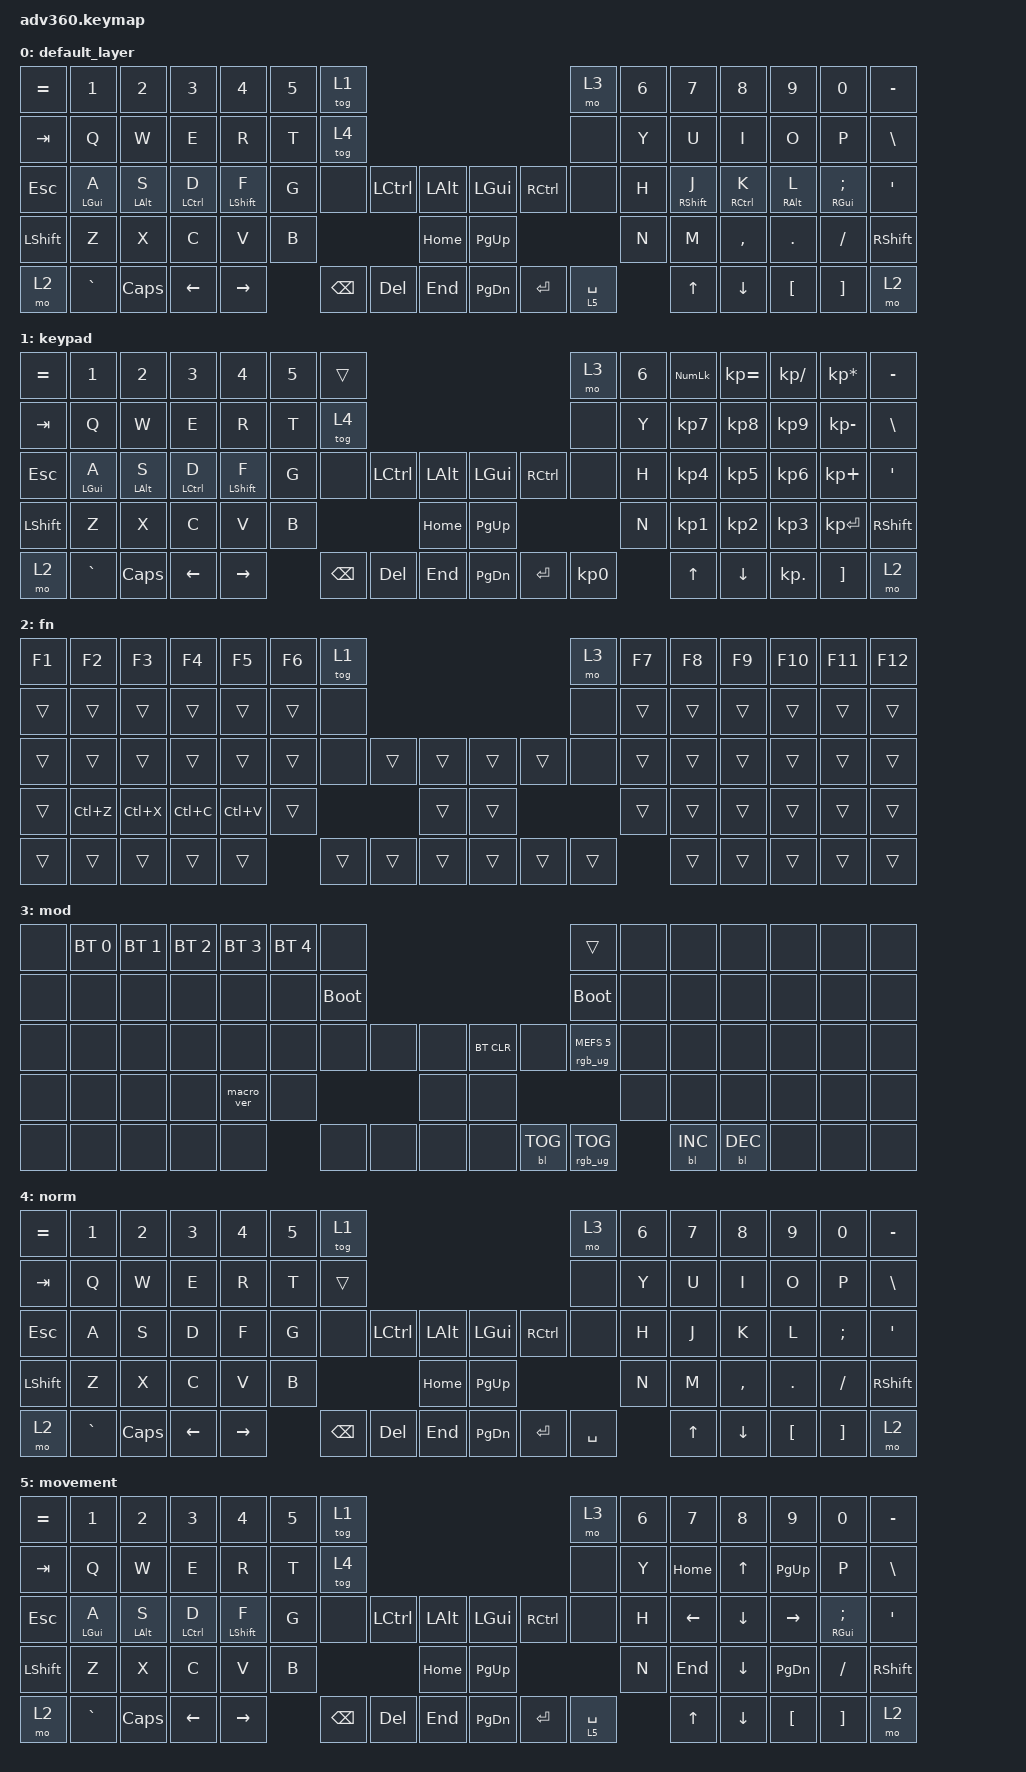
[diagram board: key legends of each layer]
#include <behaviors.dtsi>
#include <dt-bindings/zmk/backlight.h>
#include <dt-bindings/zmk/bt.h>
#include <dt-bindings/zmk/keys.h>
#include <dt-bindings/zmk/rgb.h>

/ {
    behaviors {
        #include "macros.dtsi"
      #include "version.dtsi"
      #ifndef VERSION_MACRO

        macro_ver: macro_ver {
            compatible = "zmk,behavior-macro";
            label = "macro_version";
            #binding-cells = <0>;
            bindings = <&kp RET>;
        };

        #endif

        hm: homerow_mods {
            compatible = "zmk,behavior-hold-tap";
            label = "HOMEROW_MODS";
            #binding-cells = <2>;
            tapping-term-ms = <200>;
            quick_tap_ms = <175>;
            flavor = "tap-preferred";
            bindings = <&kp>, <&kp>;
        };
    };

    macros {
    };

    keymap {
        compatible = "zmk,keymap";

        default_layer {
            bindings = <
&kp EQUAL  &kp N1          &kp N2          &kp N3              &kp N4            &kp N5  &tog 1                                                   &mo 3        &kp N6  &kp N7             &kp N8               &kp N9           &kp N0              &kp MINUS
&kp TAB    &kp Q           &kp W           &kp E               &kp R             &kp T   &tog 4                                                   &none        &kp Y   &kp U              &kp I                &kp O            &kp P               &kp BSLH
&kp ESC    &hm LEFT_GUI A  &hm LEFT_ALT S  &hm LEFT_CONTROL D  &hm LEFT_SHIFT F  &kp G   &none     &kp LCTRL  &kp LALT      &kp LGUI   &kp RCTRL  &none        &kp H   &hm RIGHT_SHIFT J  &hm RIGHT_CONTROL K  &hm RIGHT_ALT L  &hm RIGHT_GUI SEMI  &kp SQT
&kp LSHFT  &kp Z           &kp X           &kp C               &kp V             &kp B                        &kp HOME      &kp PG_UP                          &kp N   &kp M              &kp COMMA            &kp DOT          &kp FSLH            &kp RSHFT
&mo 2      &kp GRAVE       &kp CAPS        &kp LEFT            &kp RIGHT                 &kp BSPC  &kp DEL    &kp END       &kp PG_DN  &kp ENTER  &lt 5 SPACE          &kp UP             &kp DOWN             &kp LBKT         &kp RBKT            &mo 2
            >;
        };

        keypad {
            bindings = <
&kp EQUAL  &kp N1      &kp N2          &kp N3              &kp N4            &kp N5  &trans                                                   &mo 3      &kp N6  &kp KP_NUM  &kp KP_EQUAL  &kp KP_DIVIDE  &kp KP_MULTIPLY  &kp MINUS
&kp TAB    &kp Q       &kp W           &kp E               &kp R             &kp T   &tog 4                                                   &none      &kp Y   &kp KP_N7   &kp KP_N8     &kp KP_N9      &kp KP_MINUS     &kp BSLH
&kp ESC    &hm LGUI A  &hm LEFT_ALT S  &hm LEFT_CONTROL D  &hm LEFT_SHIFT F  &kp G   &none     &kp LCTRL  &kp LALT      &kp LGUI   &kp RCTRL  &none      &kp H   &kp KP_N4   &kp KP_N5     &kp KP_N6      &kp KP_PLUS      &kp SQT
&kp LSHFT  &kp Z       &kp X           &kp C               &kp V             &kp B                        &kp HOME      &kp PG_UP                        &kp N   &kp KP_N1   &kp KP_N2     &kp KP_N3      &kp KP_ENTER     &kp RSHFT
&mo 2      &kp GRAVE   &kp CAPS        &kp LEFT            &kp RIGHT                 &kp BSPC  &kp DEL    &kp END       &kp PG_DN  &kp ENTER  &kp KP_N0          &kp UP      &kp DOWN      &kp KP_DOT     &kp RBKT         &mo 2
            >;
        };

        fn {
            bindings = <
&kp F1  &kp F2     &kp F3     &kp F4     &kp F5     &kp F6  &tog 1                                      &mo 3   &kp F7  &kp F8  &kp F9  &kp F10  &kp F11  &kp F12
&trans  &trans     &trans     &trans     &trans     &trans  &none                                       &none   &trans  &trans  &trans  &trans   &trans   &trans
&trans  &trans     &trans     &trans     &trans     &trans  &none   &trans  &trans      &trans  &trans  &none   &trans  &trans  &trans  &trans   &trans   &trans
&trans  &kp LC(Z)  &kp LC(X)  &kp LC(C)  &kp LC(V)  &trans                  &trans      &trans                  &trans  &trans  &trans  &trans   &trans   &trans
&trans  &trans     &trans     &trans     &trans             &trans  &trans  &trans      &trans  &trans  &trans          &trans  &trans  &trans   &trans   &trans
            >;
        };

        mod {
            bindings = <
&none  &bt BT_SEL 0  &bt BT_SEL 1  &bt BT_SEL 2  &bt BT_SEL 3  &bt BT_SEL 4  &none                                                  &trans                  &none  &none       &none       &none  &none  &none
&none  &none         &none         &none         &none         &none         &bootloader                                            &bootloader             &none  &none       &none       &none  &none  &none
&none  &none         &none         &none         &none         &none         &none        &none  &none      &bt BT_CLR  &none       &rgb_ug RGB_MEFS_CMD 5  &none  &none       &none       &none  &none  &none
&none  &none         &none         &none         &macro_ver    &none                             &none      &none                                           &none  &none       &none       &none  &none  &none
&none  &none         &none         &none         &none                       &none        &none  &none      &none       &bl BL_TOG  &rgb_ug RGB_TOG                &bl BL_INC  &bl BL_DEC  &none  &none  &none
            >;
        };

        norm {
            bindings = <
&kp EQUAL  &kp N1     &kp N2    &kp N3    &kp N4     &kp N5  &tog 1                                                   &mo 3      &kp N6  &kp N7  &kp N8     &kp N9    &kp N0         &kp MINUS
&kp TAB    &kp Q      &kp W     &kp E     &kp R      &kp T   &trans                                                   &none      &kp Y   &kp U   &kp I      &kp O     &kp P          &kp BSLH
&kp ESC    &kp A      &kp S     &kp D     &kp F      &kp G   &none     &kp LCTRL  &kp LALT      &kp LGUI   &kp RCTRL  &none      &kp H   &kp J   &kp K      &kp L     &kp SEMICOLON  &kp SQT
&kp LSHFT  &kp Z      &kp X     &kp C     &kp V      &kp B                        &kp HOME      &kp PG_UP                        &kp N   &kp M   &kp COMMA  &kp DOT   &kp FSLH       &kp RSHFT
&mo 2      &kp GRAVE  &kp CAPS  &kp LEFT  &kp RIGHT          &kp BSPC  &kp DEL    &kp END       &kp PG_DN  &kp ENTER  &kp SPACE          &kp UP  &kp DOWN   &kp LBKT  &kp RBKT       &mo 2
            >;
        };

        movement {
            bindings = <
&kp EQUAL  &kp N1          &kp N2          &kp N3              &kp N4            &kp N5  &tog 1                                                   &mo 3        &kp N6  &kp N7          &kp N8          &kp N9           &kp N0              &kp MINUS
&kp TAB    &kp Q           &kp W           &kp E               &kp R             &kp T   &tog 4                                                   &none        &kp Y   &kp HOME        &kp UP_ARROW    &kp PAGE_UP      &kp P               &kp BSLH
&kp ESC    &hm LEFT_GUI A  &hm LEFT_ALT S  &hm LEFT_CONTROL D  &hm LEFT_SHIFT F  &kp G   &none     &kp LCTRL  &kp LALT      &kp LGUI   &kp RCTRL  &none        &kp H   &kp LEFT_ARROW  &kp DOWN_ARROW  &kp RIGHT_ARROW  &hm RIGHT_GUI SEMI  &kp SQT
&kp LSHFT  &kp Z           &kp X           &kp C               &kp V             &kp B                        &kp HOME      &kp PG_UP                          &kp N   &kp END         &kp DOWN_ARROW  &kp PAGE_DOWN    &kp FSLH            &kp RSHFT
&mo 2      &kp GRAVE       &kp CAPS        &kp LEFT            &kp RIGHT                 &kp BSPC  &kp DEL    &kp END       &kp PG_DN  &kp ENTER  &lt 5 SPACE          &kp UP          &kp DOWN        &kp LBKT         &kp RBKT            &mo 2
            >;
        };
    };
};
